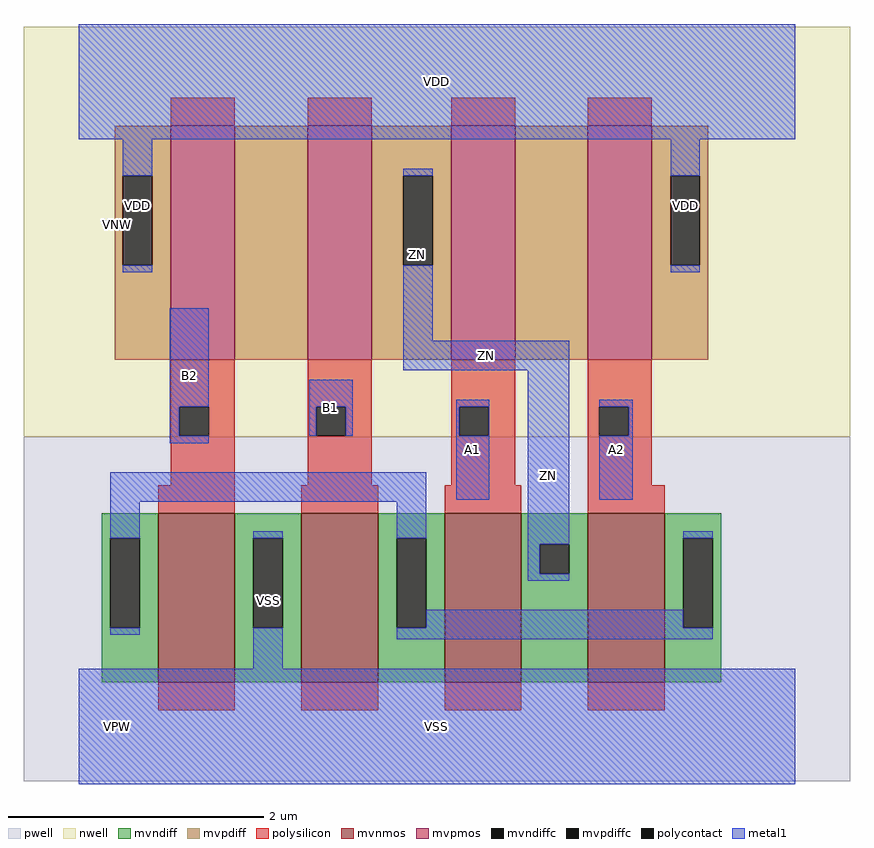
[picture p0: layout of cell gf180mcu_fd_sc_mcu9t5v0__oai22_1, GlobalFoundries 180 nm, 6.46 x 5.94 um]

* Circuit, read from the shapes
.subckt gf180mcu_fd_sc_mcu9t5v0__oai22_1 A1 A2 B1 B2 ZN VDD VNW VPW VSS
XM1 VSS B2 n1 VPW nfet_06v0 w=1.32u l=0.6u
XM2 n1 B1 VSS VPW nfet_06v0 w=1.32u l=0.6u
XM3 ZN A1 n1 VPW nfet_06v0 w=1.32u l=0.6u
XM4 n1 A2 ZN VPW nfet_06v0 w=1.32u l=0.6u
XM5 n2 B2 VDD VNW pfet_06v0 w=1.83u l=0.5u
XM6 ZN B1 n2 VNW pfet_06v0 w=1.83u l=0.5u
XM7 n3 A1 ZN VNW pfet_06v0 w=1.83u l=0.5u
XM8 VDD A2 n3 VNW pfet_06v0 w=1.83u l=0.5u
.ends

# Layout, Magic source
magic
tech gf180mcuD
magscale 1 10
<< nwell >>
rect -86 453 1206 1094
<< pwell >>
rect -86 -86 1206 453
<< mvnmos >>
rect 124 69 244 333
rect 348 69 468 333
rect 572 69 692 333
rect 796 69 916 333
<< mvpmos >>
rect 144 573 244 939
rect 358 573 458 939
rect 582 573 682 939
rect 796 573 896 939
<< mvndiff >>
rect 36 294 124 333
rect 36 154 49 294
rect 95 154 124 294
rect 36 69 124 154
rect 244 294 348 333
rect 244 154 273 294
rect 319 154 348 294
rect 244 69 348 154
rect 468 294 572 333
rect 468 154 497 294
rect 543 154 572 294
rect 468 69 572 154
rect 692 285 796 333
rect 692 239 721 285
rect 767 239 796 285
rect 692 69 796 239
rect 916 294 1004 333
rect 916 154 945 294
rect 991 154 1004 294
rect 916 69 1004 154
<< mvpdiff >>
rect 56 861 144 939
rect 56 721 69 861
rect 115 721 144 861
rect 56 573 144 721
rect 244 573 358 939
rect 458 861 582 939
rect 458 721 507 861
rect 553 721 582 861
rect 458 573 582 721
rect 682 573 796 939
rect 896 861 984 939
rect 896 721 925 861
rect 971 721 984 861
rect 896 573 984 721
<< mvndiffc >>
rect 49 154 95 294
rect 273 154 319 294
rect 497 154 543 294
rect 721 239 767 285
rect 945 154 991 294
<< mvpdiffc >>
rect 69 721 115 861
rect 507 721 553 861
rect 925 721 971 861
<< polysilicon >>
rect 144 939 244 983
rect 358 939 458 983
rect 582 939 682 983
rect 796 939 896 983
rect 144 500 244 573
rect 144 454 157 500
rect 203 454 244 500
rect 144 377 244 454
rect 358 500 458 573
rect 358 454 371 500
rect 417 454 458 500
rect 358 377 458 454
rect 582 500 682 573
rect 582 454 595 500
rect 641 454 682 500
rect 582 377 682 454
rect 796 500 896 573
rect 796 454 814 500
rect 860 454 896 500
rect 796 377 896 454
rect 124 333 244 377
rect 348 333 468 377
rect 572 333 692 377
rect 796 333 916 377
rect 124 25 244 69
rect 348 25 468 69
rect 572 25 692 69
rect 796 25 916 69
<< polycontact >>
rect 157 454 203 500
rect 371 454 417 500
rect 595 454 641 500
rect 814 454 860 500
<< metal1 >>
rect 0 918 1120 1098
rect 69 861 115 918
rect 69 710 115 721
rect 507 861 553 872
rect 142 500 203 654
rect 507 603 553 721
rect 925 861 971 918
rect 925 710 971 721
rect 507 557 767 603
rect 142 454 157 500
rect 360 500 428 542
rect 360 454 371 500
rect 417 454 428 500
rect 590 500 642 511
rect 590 454 595 500
rect 641 454 642 500
rect 142 443 203 454
rect 49 351 543 397
rect 590 354 642 454
rect 49 294 95 351
rect 49 143 95 154
rect 273 294 319 305
rect 273 90 319 154
rect 497 294 543 351
rect 702 285 767 557
rect 814 500 866 511
rect 860 454 866 500
rect 814 354 866 454
rect 702 239 721 285
rect 702 228 767 239
rect 945 294 991 305
rect 543 154 945 182
rect 497 136 991 154
rect 0 -90 1120 90
<< labels >>
flabel metal1 s 590 354 642 511 0 FreeSans 200 0 0 0 A1
port 1 nsew default input
flabel metal1 s 814 354 866 511 0 FreeSans 200 0 0 0 A2
port 2 nsew default input
flabel metal1 s 360 454 428 542 0 FreeSans 200 0 0 0 B1
port 3 nsew default input
flabel metal1 s 142 443 203 654 0 FreeSans 200 0 0 0 B2
port 4 nsew default input
flabel metal1 s 0 918 1120 1098 0 FreeSans 200 0 0 0 VDD
port 6 nsew power bidirectional abutment
flabel metal1 s 273 90 319 305 0 FreeSans 200 0 0 0 VSS
port 9 nsew ground bidirectional abutment
flabel metal1 s 507 603 553 872 0 FreeSans 200 0 0 0 ZN
port 5 nsew default output
flabel nwell s 10 734 110 834 0 FreeSans 400 0 0 0 VNW
port 7 nsew power bidirectional
flabel pwell s 10 -50 110 50 0 FreeSans 400 0 0 0 VPW
port 8 nsew ground bidirectional
rlabel metal1 s 507 557 767 603 1 ZN
port 5 nsew default output
rlabel metal1 s 702 228 767 557 1 ZN
port 5 nsew default output
rlabel metal1 s 925 710 971 918 1 VDD
port 6 nsew power bidirectional abutment
rlabel metal1 s 69 710 115 918 1 VDD
port 6 nsew power bidirectional abutment
rlabel metal1 s 0 -90 1120 90 1 VSS
port 9 nsew ground bidirectional abutment
<< properties >>
string FIXED_BBOX 0 0 1120 1008
string GDS_END 132434
string GDS_FILE $PDKPATH/libs.ref/gf180mcu_fd_sc_mcu9t5v0/gds/gf180mcu_fd_sc_mcu9t5v0.gds
string GDS_START 128690
string LEFclass core
string LEFsite GF018hv5v_green_sc9
string LEFsymmetry X Y
<< end >>
